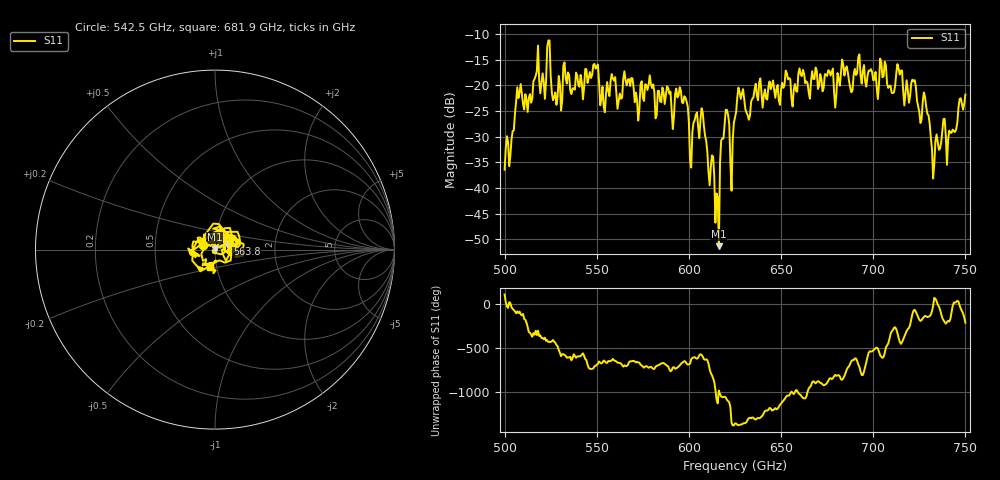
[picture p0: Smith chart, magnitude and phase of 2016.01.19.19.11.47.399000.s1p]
!Created with skrf (http://scikit-rf.org).
# GHz S RI R 50.0
!freq ReS11 ImS11
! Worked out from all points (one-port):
!   401 points, 500 GHz to 750 GHz, reference 50 ohm
!   lowest |S11| = -51.4 dB at 616.2 GHz (marker M1), VSWR 1.01, Z = 50 + j0.269 ohm
!   |S11| at or under -10 dB: start of sweep to end of sweep
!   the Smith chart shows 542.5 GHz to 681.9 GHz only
!   S11 on the Smith chart (normalised r, x): 542.5 GHz: 0.87, +0.05; 563.8 GHz: 1.15, +0.07; 681.9 GHz: 0.93, -0.18
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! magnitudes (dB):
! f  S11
! 500 GHz  -36.4
! 507.5 GHz  -22.5
! 520.6 GHz  -17.6
! 523.8 GHz  -11.2
! 526.9 GHz  -22.3
! 531.2 GHz  -22.9
! 542.5 GHz  -22.7
! 549.4 GHz  -16.7
! 553.1 GHz  -20.2
! 558.8 GHz  -18.6
! 562.5 GHz  -21.6
! 563.8 GHz  -22.4
! 593.8 GHz  -22.3
! 601.2 GHz  -36.0
! 607.5 GHz  -25.3
! 615 GHz  -41.1
! 616.2 GHz  -51.4
! 619.4 GHz  -27.4
! 623.1 GHz  -40.5
! 625 GHz  -26.3
! 628.1 GHz  -22.6
! 656.2 GHz  -24.1
! 681.9 GHz  -20.0
! 687.5 GHz  -20.4
! 718.8 GHz  -20.9
! 728.1 GHz  -22.3
! 732.5 GHz  -38.2
! 750 GHz  -21.8
